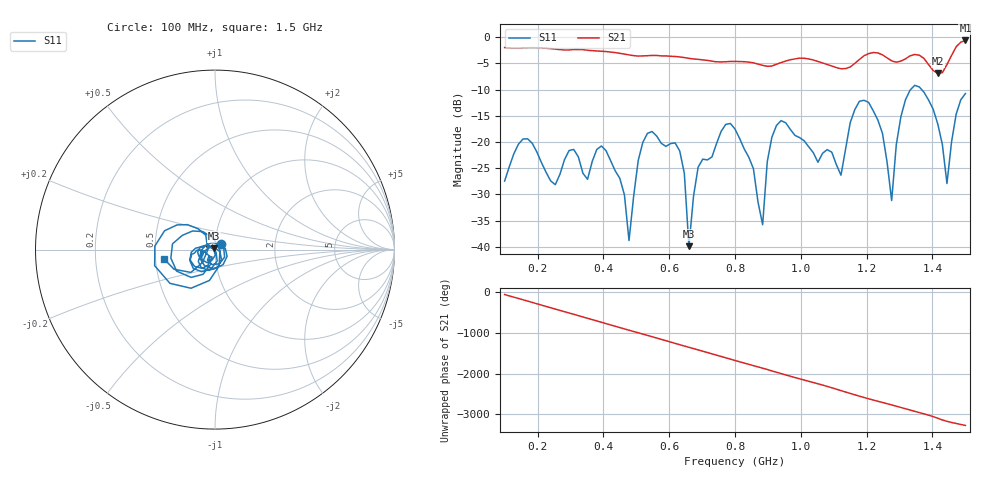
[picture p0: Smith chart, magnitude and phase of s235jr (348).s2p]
! NanoVNA-App
! Date: 2025-09-25 15:06:52
! Start: 100MHz Stop: 1,5GHz Points: 101
! S-Parameter data: F S11 S21 S12 S22
# Hz S RI R 50
!  Frequency  S11_Real  S11_Imag  S21_Real  S21_Imag  S12_Real  S12_Imag  S22_Real  S22_Imag
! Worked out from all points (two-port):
!   101 points, 100 MHz to 1.5 GHz, reference 50 ohm
!   highest |S21| = -0.60 dB at 1.5 GHz (marker M1); lowest = -6.9 dB at 1.416 GHz (marker M2)
!   |S21| within 3 dB of the highest: start of sweep to 600.2 MHz; 1.19 GHz to 1.254 GHz (63.82 MHz wide, 5.22 % of centre) (the widest 2 of 4)
!   lowest |S11| = -39.9 dB at 660 MHz (marker M3), VSWR 1.02, Z = 49.2 + j0.621 ohm
!   |S11| at or under -10 dB: start of sweep to 1.333 GHz; 1.367 GHz to end of sweep
!   S12 and S22 are empty: the file has one direction only
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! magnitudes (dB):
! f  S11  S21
! 100 MHz  -27.5  -2.0
! 156 MHz  -19.4  -2.0
! 338 MHz  -26.0  -2.4
! 408 MHz  -21.6  -2.7
! 478 MHz  -38.8  -3.4
! 520 MHz  -20.0  -3.6
! 576 MHz  -20.2  -3.5
! 632 MHz  -21.7  -3.7
! 660 MHz  -39.9  -4.0
! 688 MHz  -24.8  -4.2
! 800 MHz  -17.5  -4.6
! 884 MHz  -35.8  -5.4
! 898 MHz  -23.8  -5.5
! 926 MHz  -16.8  -5.1
! 1.038 GHz  -22.0  -4.3
! 1.122 GHz  -26.3  -6.0
! 1.206 GHz  -12.4  -3.1
! 1.276 GHz  -31.2  -4.5
! 1.332 GHz  -10.1  -3.5
! 1.416 GHz  -16.5  -6.9
! 1.444 GHz  -27.9  -5.2
! 1.5 GHz  -10.8  -0.6
